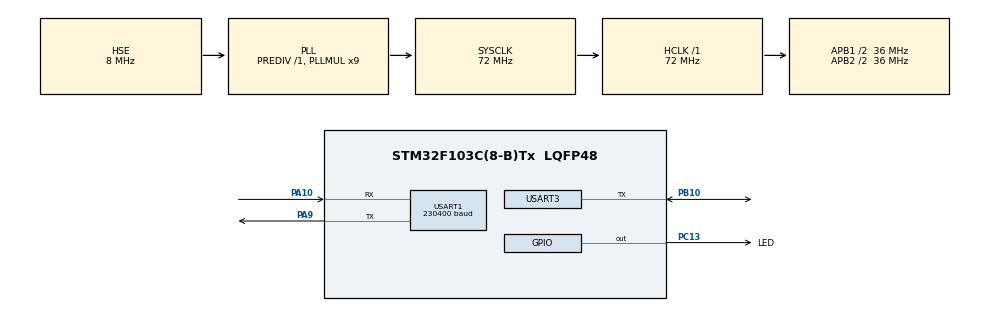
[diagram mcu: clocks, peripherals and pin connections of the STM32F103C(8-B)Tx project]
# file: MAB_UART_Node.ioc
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Mcu.Family=STM32F1
Mcu.Name=STM32F103C(8-B)Tx
Mcu.Package=LQFP48
NVIC.PriorityGroup=NVIC_PRIORITYGROUP_4
NVIC.TIM4_IRQn=true\:0\:0\:false\:false\:true\:true
NVIC.USART1_IRQn=true\:0\:0\:false\:false\:true\:true
NVIC.USART3_IRQn=true\:0\:0\:false\:false\:true\:true
PA10.Mode=Asynchronous
PA10.Signal=USART1_RX
PA13.Mode=Serial_Wire
PA13.Signal=SYS_JTMS-SWDIO
PA14.Mode=Serial_Wire
PA14.Signal=SYS_JTCK-SWCLK
PA9.Mode=Asynchronous
PA9.Signal=USART1_TX
PB10.Mode=Half_duplex(single_wire_mode)
PB10.Signal=USART3_TX
PC13-TAMPER-RTC.GPIO_Label=LED
PC13-TAMPER-RTC.Signal=GPIO_Output
PD0-OSC_IN.Mode=HSE-External-Oscillator
PD0-OSC_IN.Signal=RCC_OSC_IN
PD1-OSC_OUT.Mode=HSE-External-Oscillator
PD1-OSC_OUT.Signal=RCC_OSC_OUT
ProjectManager.HeapSize=0x200
ProjectManager.StackSize=0x400
ProjectManager.TargetToolchain=SW4STM32
RCC.AHBFreq_Value=72000000
RCC.APB1CLKDivider=RCC_HCLK_DIV2
RCC.APB1Freq_Value=36000000
RCC.APB1TimFreq_Value=72000000
RCC.APB2CLKDivider=RCC_HCLK_DIV2
RCC.APB2Freq_Value=36000000
RCC.APB2TimFreq_Value=72000000
RCC.HCLKFreq_Value=72000000
RCC.PLLMUL=RCC_PLL_MUL9
RCC.PLLSourceVirtual=RCC_PLLSOURCE_HSE
RCC.SYSCLKFreq_VALUE=72000000
RCC.SYSCLKSource=RCC_SYSCLKSOURCE_PLLCLK
RCC.USBFreq_Value=72000000
TIM4.Period=99
TIM4.Prescaler=719
USART1.BaudRate=230400
USART1.VirtualMode=VM_ASYNC
USART3.BaudRate=230400
USART3.VirtualMode=VM_ASYNC
VP_TIM4_VS_ClockSourceINT.Mode=Internal
board=MAB_UART_Node

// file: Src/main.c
/**
  ******************************************************************************
  * @file           : main.c
  * @brief          : Main program body
  ******************************************************************************
  ** This notice applies to any and all portions of this file
  * that are not between comment pairs USER CODE BEGIN and
  * USER CODE END. Other portions of this file, whether
  * inserted by the user or by software development tools
  * are owned by their respective copyright owners.
  *
  * COPYRIGHT(c) 2018 STMicroelectronics
  *
  * Redistribution and use in source and binary forms, with or without modification,
  * are permitted provided that the following conditions are met:
  *   1. Redistributions of source code must retain the above copyright notice,
  *      this list of conditions and the following disclaimer.
  *   2. Redistributions in binary form must reproduce the above copyright notice,
  *      this list of conditions and the following disclaimer in the documentation
  *      and/or other materials provided with the distribution.
  *   3. Neither the name of STMicroelectronics nor the names of its contributors
  *      may be used to endorse or promote products derived from this software
  *      without specific prior written permission.
  *
  * THIS SOFTWARE IS PROVIDED BY THE COPYRIGHT HOLDERS AND CONTRIBUTORS "AS IS"
  * AND ANY EXPRESS OR IMPLIED WARRANTIES, INCLUDING, BUT NOT LIMITED TO, THE
  * IMPLIED WARRANTIES OF MERCHANTABILITY AND FITNESS FOR A PARTICULAR PURPOSE ARE
  * DISCLAIMED. IN NO EVENT SHALL THE COPYRIGHT HOLDER OR CONTRIBUTORS BE LIABLE
  * FOR ANY DIRECT, INDIRECT, INCIDENTAL, SPECIAL, EXEMPLARY, OR CONSEQUENTIAL
  * DAMAGES (INCLUDING, BUT NOT LIMITED TO, PROCUREMENT OF SUBSTITUTE GOODS OR
  * SERVICES; LOSS OF USE, DATA, OR PROFITS; OR BUSINESS INTERRUPTION) HOWEVER
  * CAUSED AND ON ANY THEORY OF LIABILITY, WHETHER IN CONTRACT, STRICT LIABILITY,
  * OR TORT (INCLUDING NEGLIGENCE OR OTHERWISE) ARISING IN ANY WAY OUT OF THE USE
  * OF THIS SOFTWARE, EVEN IF ADVISED OF THE POSSIBILITY OF SUCH DAMAGE.
  *
  ******************************************************************************
  */
#include "main.h"
#include "stm32f1xx_hal.h"

/* USER CODE BEGIN Includes */
#include "uart.h"
#include "utils.h"
/* USER CODE END Includes */

TIM_HandleTypeDef htim4;

UART_HandleTypeDef huart1;
UART_HandleTypeDef huart3;

/* USER CODE BEGIN PV */
/* Private variables ---------------------------------------------------------*/
uint32_t ms = 0;
/* USER CODE END PV */

void SystemClock_Config(void);
static void MX_GPIO_Init(void);
static void MX_USART1_UART_Init(void);
static void MX_USART3_UART_Init(void);
static void MX_TIM4_Init(void);

/* USER CODE BEGIN PFP */
/* Private function prototypes -----------------------------------------------*/

/* USER CODE END PFP */

int main(void)
{

  /* MCU Configuration----------------------------------------------------------*/

  /* Reset of all peripherals, Initializes the Flash interface and the Systick. */
  HAL_Init();

  /* Configure the system clock */
  SystemClock_Config();

  /* Initialize all configured peripherals */
  MX_GPIO_Init();
  MX_USART1_UART_Init();
  MX_USART3_UART_Init();
  MX_TIM4_Init();
  /* USER CODE BEGIN 2 */
  HAL_TIM_Base_Init(&htim4);
  HAL_TIM_Base_Start_IT(&htim4);
  /* USER CODE END 2 */

  /* Infinite loop */
  while (1)
  {

  }

}

void SystemClock_Config(void)
{

  RCC_OscInitTypeDef RCC_OscInitStruct;
  RCC_ClkInitTypeDef RCC_ClkInitStruct;

    /**Initializes the CPU, AHB and APB busses clocks
    */
  RCC_OscInitStruct.OscillatorType = RCC_OSCILLATORTYPE_HSE;
  RCC_OscInitStruct.HSEState = RCC_HSE_ON;
  RCC_OscInitStruct.HSEPredivValue = RCC_HSE_PREDIV_DIV1;
  RCC_OscInitStruct.HSIState = RCC_HSI_ON;
  RCC_OscInitStruct.PLL.PLLState = RCC_PLL_ON;
  RCC_OscInitStruct.PLL.PLLSource = RCC_PLLSOURCE_HSE;
  RCC_OscInitStruct.PLL.PLLMUL = RCC_PLL_MUL9;
  if (HAL_RCC_OscConfig(&RCC_OscInitStruct) != HAL_OK)
  {
    _Error_Handler(__FILE__, __LINE__);
  }

    /**Initializes the CPU, AHB and APB busses clocks
    */
  RCC_ClkInitStruct.ClockType = RCC_CLOCKTYPE_HCLK|RCC_CLOCKTYPE_SYSCLK
                              |RCC_CLOCKTYPE_PCLK1|RCC_CLOCKTYPE_PCLK2;
  RCC_ClkInitStruct.SYSCLKSource = RCC_SYSCLKSOURCE_PLLCLK;
  RCC_ClkInitStruct.AHBCLKDivider = RCC_SYSCLK_DIV1;
  RCC_ClkInitStruct.APB1CLKDivider = RCC_HCLK_DIV2;
  RCC_ClkInitStruct.APB2CLKDivider = RCC_HCLK_DIV2;

  if (HAL_RCC_ClockConfig(&RCC_ClkInitStruct, FLASH_LATENCY_2) != HAL_OK)
  {
    _Error_Handler(__FILE__, __LINE__);
  }

    /**Configure the Systick interrupt time
    */
  HAL_SYSTICK_Config(HAL_RCC_GetHCLKFreq()/1000);

    /**Configure the Systick
    */
  HAL_SYSTICK_CLKSourceConfig(SYSTICK_CLKSOURCE_HCLK);

  /* SysTick_IRQn interrupt configuration */
  HAL_NVIC_SetPriority(SysTick_IRQn, 0, 0);
}

/* TIM4 init function */
static void MX_TIM4_Init(void)
{

  TIM_ClockConfigTypeDef sClockSourceConfig;
  TIM_MasterConfigTypeDef sMasterConfig;

  htim4.Instance = TIM4;
  htim4.Init.Prescaler = 719;
  htim4.Init.CounterMode = TIM_COUNTERMODE_UP;
  htim4.Init.Period = 99;
  htim4.Init.ClockDivision = TIM_CLOCKDIVISION_DIV1;
  htim4.Init.AutoReloadPreload = TIM_AUTORELOAD_PRELOAD_DISABLE;
  if (HAL_TIM_Base_Init(&htim4) != HAL_OK)
  {
    _Error_Handler(__FILE__, __LINE__);
  }

  sClockSourceConfig.ClockSource = TIM_CLOCKSOURCE_INTERNAL;
  if (HAL_TIM_ConfigClockSource(&htim4, &sClockSourceConfig) != HAL_OK)
  {
    _Error_Handler(__FILE__, __LINE__);
  }

  sMasterConfig.MasterOutputTrigger = TIM_TRGO_RESET;
  sMasterConfig.MasterSlaveMode = TIM_MASTERSLAVEMODE_DISABLE;
  if (HAL_TIMEx_MasterConfigSynchronization(&htim4, &sMasterConfig) != HAL_OK)
  {
    _Error_Handler(__FILE__, __LINE__);
  }

}

/* USART1 init function */
static void MX_USART1_UART_Init(void)
{

  huart1.Instance = USART1;
  huart1.Init.BaudRate = 230400;
  huart1.Init.WordLength = UART_WORDLENGTH_8B;
  huart1.Init.StopBits = UART_STOPBITS_1;
  huart1.Init.Parity = UART_PARITY_NONE;
  huart1.Init.Mode = UART_MODE_TX_RX;
  huart1.Init.HwFlowCtl = UART_HWCONTROL_NONE;
  huart1.Init.OverSampling = UART_OVERSAMPLING_16;
  if (HAL_UART_Init(&huart1) != HAL_OK)
  {
    _Error_Handler(__FILE__, __LINE__);
  }

}

/* USART3 init function */
static void MX_USART3_UART_Init(void)
{

  huart3.Instance = USART3;
  huart3.Init.BaudRate = 230400;
  huart3.Init.WordLength = UART_WORDLENGTH_8B;
  huart3.Init.StopBits = UART_STOPBITS_1;
  huart3.Init.Parity = UART_PARITY_NONE;
  huart3.Init.Mode = UART_MODE_TX_RX;
  huart3.Init.HwFlowCtl = UART_HWCONTROL_NONE;
  huart3.Init.OverSampling = UART_OVERSAMPLING_16;
  if (HAL_HalfDuplex_Init(&huart3) != HAL_OK)
  {
    _Error_Handler(__FILE__, __LINE__);
  }

}

/** Configure pins as
        * Analog
        * Input
        * Output
        * EVENT_OUT
        * EXTI
*/
static void MX_GPIO_Init(void)
{

  GPIO_InitTypeDef GPIO_InitStruct;

  /* GPIO Ports Clock Enable */
  __HAL_RCC_GPIOC_CLK_ENABLE();
  __HAL_RCC_GPIOD_CLK_ENABLE();
  __HAL_RCC_GPIOB_CLK_ENABLE();
  __HAL_RCC_GPIOA_CLK_ENABLE();

  /*Configure GPIO pin Output Level */
  HAL_GPIO_WritePin(LED_GPIO_Port, LED_Pin, GPIO_PIN_RESET);

  /*Configure GPIO pin : LED_Pin */
  GPIO_InitStruct.Pin = LED_Pin;
  GPIO_InitStruct.Mode = GPIO_MODE_OUTPUT_PP;
  GPIO_InitStruct.Speed = GPIO_SPEED_FREQ_LOW;
  HAL_GPIO_Init(LED_GPIO_Port, &GPIO_InitStruct);

}

/* USER CODE BEGIN 4 */
void HAL_UART_RxCpltCallback(UART_HandleTypeDef *huart)
{
	if(huart->Instance == USART1)				//jezeli przerwanie od uartu rpi
		uart_eorx_rpi();
	else if(huart->Instance == USART3)			//jezeli przerwanie od rs485
	{
		uart_eorx_rs485(&huart1);				//obsluga rs485
		isBusy_rs485 = RS485_FREE;
	}
}
void HAL_UART_TxCpltCallback(UART_HandleTypeDef *huart)
{
	if(huart->Instance == USART3)				//jezeli przerwanie od rs485
	{
		isBusy_rs485 = RS485_FREE;
	}
}
void HAL_TIM_PeriodElapsedCallback(TIM_HandleTypeDef *htim)
{
	if(htim->Instance == TIM4)		//przerwanie 1ms
	{
		ms_elapsed++;
		ms++;
		if(ms % 10 == 0)
		{
			rs485_send_all(&huart3);
			rpi_send_all(&huart1);
		}
	}
}

/* USER CODE END 4 */

void _Error_Handler(char *file, int line)
{
  while(1)
  {
  }
}

/************************ (C) COPYRIGHT STMicroelectronics *****END OF FILE****/
